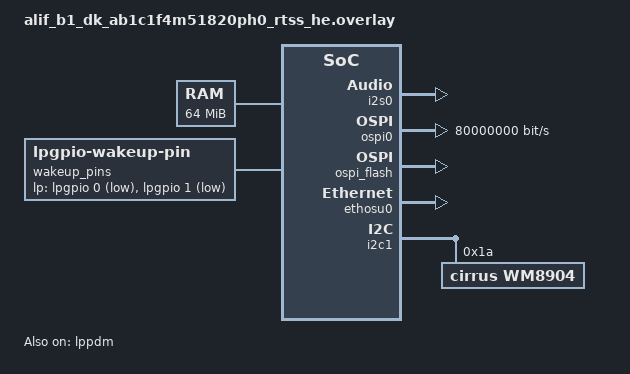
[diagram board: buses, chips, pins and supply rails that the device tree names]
/* Copyright (C) Alif Semiconductor - All Rights Reserved.
 * Use, distribution and modification of this code is permitted under the
 * terms stated in the Alif Semiconductor Software License Agreement
 *
 * You should have received a copy of the Alif Semiconductor Software
 * License Agreement with this file. If not, please write to:
 * contact@alifsemi.com, or visit: https: //alifsemi.com/license
 *
 */

/ {
	aliases {
		pdm-audio = &lppdm;
		spi-flash0 = &ospi_flash;
		i2s-output = &i2s0;
		audio-codec = &wm8904;
	};
};

&lppdm {
	status = "okay";
};

&i2s0 {
	status = "okay";
};

/ {
	ext_flash_xip: memory@b0000000 {
		compatible = "zephyr,memory-region";
		reg = <0xb0000000 DT_SIZE_M(64)>;
		zephyr,memory-region = "OSPI0";
	};
};


&ospi0 {
	bus-speed = <80000000>;
	status = "okay";
};

&ospi_flash {
	status = "okay";
};

&ethosu0 {
	status = "okay";
};

/ {
	/* Compile-time assertion: ethosu0 must exist */
	ethosu_u55_check {
		compatible = "vnd,ethosu-u55-check";
		ethosu-node = <&ethosu0>;
	};
};


&pinctrl_lpgpio {
	group0 {
		pinmux = <PIN_P15_0__LPGPIO>,
			 <PIN_P15_1__LPGPIO>;
		read-enable = <1>;
		driver-state-control = <1>;
		drive-strength = <8>;
	};
};

&lpgpio {
	pinctrl-0 = < &pinctrl_lpgpio >;
	pinctrl-names = "default";
	status = "okay";
};

/ {
	wakeup_pins: wakeup_pins {
		compatible = "lpgpio-wakeup-pin";
		lpgpios = <&lpgpio 0 GPIO_ACTIVE_LOW>,
			  <&lpgpio 1 GPIO_ACTIVE_LOW>;
	};
};

&pinctrl_uart2 {
	group0 {
		pinmux = <PIN_P5_2__UART2_RX_B>,
				 <PIN_P5_3__UART2_TX_B>;
		read-enable = <0x1>;
		driver-state-control = <1>; /* pull-up: initialize RX active-high */
	};
};

&pinctrl_i2s0 {
	group0 {
		pinmux = <PIN_P2_4__I2S0_SDI_B>,
			 <PIN_P2_5__I2S0_SDO_B>,
			 <PIN_P1_6__I2S0_SCLK_A>,
			 <PIN_P1_7__I2S0_WS_A>;
	};
};

&i2c1 {
	status = "okay";
	wm8904: wm8904@1a {
		compatible = "cirrus,wm8904";
		reg = <0x1a>;
		status = "okay";
	};
};

&uart_ahi {
	status = "disabled";
};

&uart_hci {
	status = "disabled";
};
